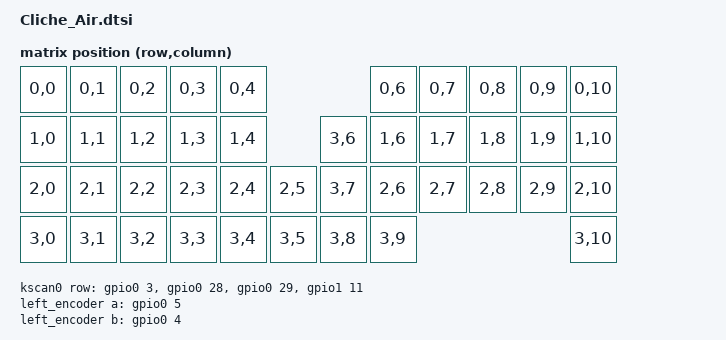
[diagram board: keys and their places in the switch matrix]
#include <dt-bindings/zmk/matrix_transform.h>

/ {
    chosen {
        zmk,kscan = &kscan0;
        zmk,matrix_transform = &default_transform;
    };

    /* 共通マトリクス変換（col-offset は overlay で調整） */
    default_transform: keymap_transform_0 {
        compatible = "zmk,matrix-transform";
        columns = <11>;
        rows = <4>;
        map = <
            RC(0,0) RC(0,1) RC(0,2) RC(0,3) RC(0,4)                     RC(0,6) RC(0,7) RC(0,8) RC(0,9) RC(0,10)
            RC(1,0) RC(1,1) RC(1,2) RC(1,3) RC(1,4)             RC(3,6) RC(1,6) RC(1,7) RC(1,8) RC(1,9) RC(1,10)
            RC(2,0) RC(2,1) RC(2,2) RC(2,3) RC(2,4) RC(2,5)     RC(3,7) RC(2,6) RC(2,7) RC(2,8) RC(2,9) RC(2,10)
            RC(3,0) RC(3,1) RC(3,2) RC(3,3) RC(3,4) RC(3,5)     RC(3,8) RC(3,9)                         RC(3,10)
        >;
    };

    /* 共通キースキャンの行ピン（左右共通） - 列は overlay で指定 */
    kscan0: kscan {
        compatible = "zmk,kscan-gpio-matrix";
        label = "KSCAN";
        diode-direction = "col2row";
        row-gpios = <&gpio0 3 (GPIO_ACTIVE_HIGH | GPIO_PULL_DOWN)>,
                    <&gpio0 28 (GPIO_ACTIVE_HIGH | GPIO_PULL_DOWN)>,
                    <&gpio0 29 (GPIO_ACTIVE_HIGH | GPIO_PULL_DOWN)>,
                    <&gpio1 11 (GPIO_ACTIVE_HIGH | GPIO_PULL_DOWN)>;
        status = "okay";
    };

    /* 共通 LED ストリップ（disabled：左右 overlay で有効化 / 右は独自ノードでも可） */
    sk6812_led: led_strip {
        compatible = "zmk,led-strip";
        label = "LED_STRIP";
        gpios = <&gpio0 16 GPIO_ACTIVE_HIGH>; /* default DIN (overlay で再設定できる) */
        chain-length = <1>;
        color-order = "GRB";
        status = "disabled";
    };

    /* エンコーダ（左ベース、overlay で有効化） */
    left_encoder: encoder_left {
        compatible = "alps,ec11";
        a-gpios = <&gpio0 5 (GPIO_ACTIVE_HIGH | GPIO_PULL_UP)>;
        b-gpios = <&gpio0 4 (GPIO_ACTIVE_HIGH | GPIO_PULL_UP)>;
        steps = <24>;
        status = "disabled";
    };

    /* 右エンコーダはデフォルトで無効（今回右にエンコーダは無し） */
    right_encoder: encoder_right {
        status = "disabled";
    };

    /* sensors ノード（エンコーダ参照リスト） */
    sensors: sensors {
        compatible = "zmk,keymap-sensors";
        sensors = <&left_encoder &right_encoder>;
        triggers-per-rotation = <10>;
    };
};
